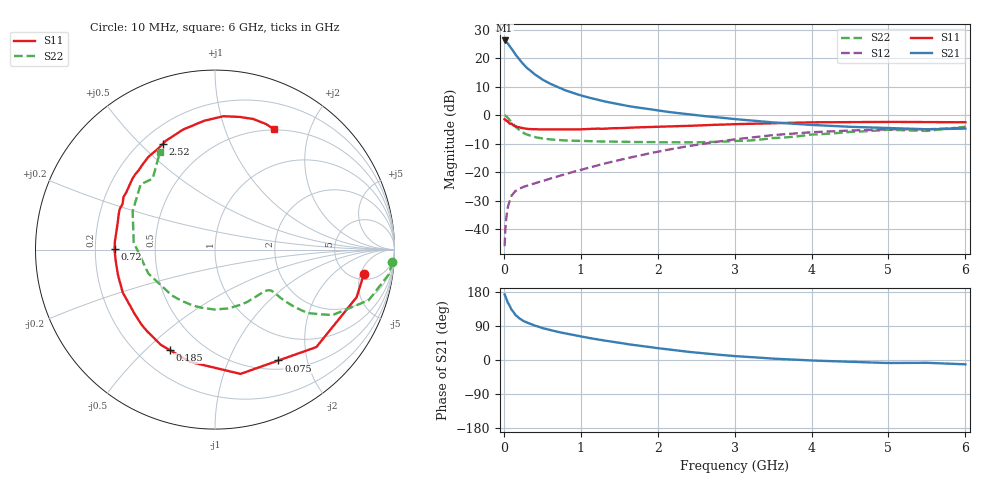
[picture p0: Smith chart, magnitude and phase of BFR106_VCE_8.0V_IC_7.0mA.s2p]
! Infineon Technologies  Discrete & RF Semiconductors
! BFR106
! VCE =  8.0 V,  IC =  7.0 mA
! Common Emitter S-Parameters:  Nov 2015
# GHz  S  MA  R  50
!  f  S11  S21  S12  S22
! GHz  MAG  ANG  MAG  ANG  MAG  ANG  MAG  ANG
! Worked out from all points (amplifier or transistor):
!   210 points, 10 MHz to 6 GHz, reference 50 ohm
!   highest |S21| = 26.2 dB at 10 MHz (marker M1)
!   |S21| within 3 dB of that: start of sweep to 104.2 MHz
!   unconditionally stable (mu >= 1): 561.3 MHz to 1.919 GHz; 5.166 GHz to end of sweep
!   at 185 MHz: K = 0.45, MSG = 23.1 dB, |S12| = -26.1 dB
!   at 1.52 GHz: K = 1.09, MAG = 7.8 dB, |S12| = -15.7 dB
!   at 6 GHz: K = 1.01, MAG = -0.9 dB, |S12| = -4.4 dB
!   S11 on the Smith chart (normalised r, x): 10 MHz: 6.05, -5.71; 75 MHz: 0.62, -1.55; 185 MHz: 0.33, -0.59; 720 MHz: 0.28, +0.00; 2.52 GHz: 0.28, +0.58; 6 GHz: 0.49, +1.49
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0.01  0.8403 -9.5  20.35 173.2  0.005 86.9  0.991 -4.0
0.02  0.8325 -18.6  20.04 168.2  0.0103 79.0  0.9784 -8.1
0.05  0.7834 -43.9  18.16 151.9  0.0236 68.5  0.9017 -18.2
0.075  0.7118 -60.2  16.2 143.3  0.0308 60.5  0.8214 -23.2
0.1  0.707 -78.4  14.7 132.7  0.0383 55.5  0.7486 -29.2
0.15  0.6407 -102.5  11.57 118.8  0.0463 47.1  0.6263 -34.4
0.185  0.6135 -114.4  10.08 113.2  0.0494 45.2  0.5712 -35.3
0.2  0.6104 -119.7  9.482 110.2  0.0508 44.4  0.5476 -35.8
0.26  0.5852 -134.3  7.641 102.4  0.0552 43.5  0.482 -36.3
0.3  0.5732 -141.5  6.71 98.5  0.0575 44.3  0.4548 -36.4
0.4  0.5669 -155.1  5.195 90.9  0.0635 46.2  0.4103 -35.9
0.5  0.5589 -165.2  4.206 84.4  0.0693 49.2  0.3865 -36.1
0.6  0.5566 -172.7  3.556 79.1  0.0763 51.7  0.3738 -37.2
0.72  0.5592 179.6  3.007 73.4  0.0853 54.8  0.3637 -39.3
1.02  0.5626 164.4  2.174 61.4  0.1109 60.4  0.3508 -46.1
1.4  0.5881 150.1  1.635 48.5  0.1506 63.5  0.3428 -58.0
2.02  0.6226 130.4  1.191 30.8  0.2299 61.8  0.3329 -82.9
2.52  0.6565 116.3  0.989 19.2  0.3024 56.5  0.3329 -107.3
3.1  0.6957 102.9  0.828 9.1  0.3874 47.4  0.3527 -139.0
4.1  0.7452 85.0  0.661 -2.0  0.5057 28.8  0.4603 170.6
5.1  0.757 72.5  0.588 -7.8  0.5598 12.3  0.5455 137.3
6  0.7465 64.0  0.578 -11.4  0.6015 0.6  0.6248 119.4
